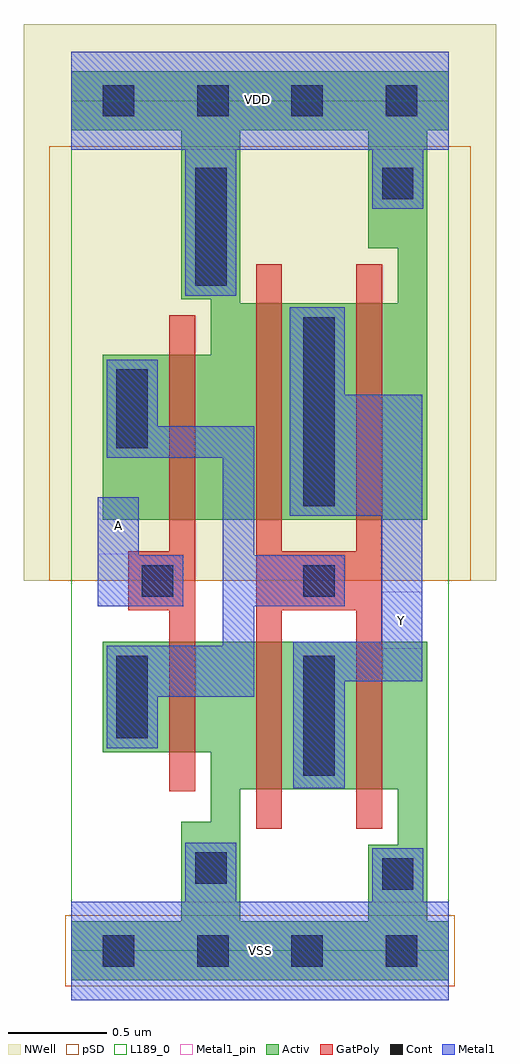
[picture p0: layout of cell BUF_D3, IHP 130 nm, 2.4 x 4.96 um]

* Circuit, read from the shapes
.subckt BUF_D3 A VDD VSS Y
XM1 VSS A n1 VSS sg13_lv_nmos w=0.56u l=0.13u
XM2 Y n1 VSS VSS sg13_lv_nmos w=0.75u l=0.13u m=2
XM3 VDD A n1 VDD sg13_lv_pmos w=0.84u l=0.13u
XM4 Y n1 VDD VDD sg13_lv_pmos w=1.1u l=0.13u m=2
.ends

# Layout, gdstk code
import gdstk
lib = gdstk.Library(unit=1e-6, precision=1e-09)
def R(c, l, rs):  # rectangles x0, y0, x1, y1
    for r in rs: c.add(gdstk.rectangle(r[:2], r[2:], *l))
def A(c, l, x, y, w, h, nx, ny, dx, dy):  # array of equal rectangles
    R(c, l, [(x+i*dx, y+j*dy, x+i*dx+w, y+j*dy+h) for i in range(nx) for j in range(ny)])
def P(c, l, *ps):  # polygons
    for p in ps: c.add(gdstk.Polygon(p, *l))
Activ = (1, 0)
GatPoly = (5, 0)
Cont = (6, 0)
Metal1 = (8, 0)
Metal1_pin = (8, 2)
pSD = (14, 0)
NWell = (31, 0)
L189_0 = (189, 0)

buf_d3 = lib.new_cell('BUF_D3')
P(buf_d3, Activ, [(0,-0.15),(0,0.15),(0.56,0.15),(0.86,0.15),(1.51,0.15),(1.51,0.54),(1.66,0.54),(1.66,0.82),(0.86,0.82),(0.86,0.15),(0.56,0.15),(0.56,0.655),(0.71,0.655),(0.71,1.01),(0.16,1.01),(0.16,1.57),(1.81,1.57),(1.81,0.15),(1.92,0.15),(1.92,-0.15)],
  [(0.16,2.19),(0.16,3.03),(0.71,3.03),(0.71,3.29),(0.86,3.29),(1.66,3.29),(1.66,3.57),(1.51,3.57),(1.51,4.17),(0.86,4.17),(0.86,3.29),(0.71,3.29),(0.71,3.31),(0.56,3.31),(0.56,4.17),(0,4.17),(0,4.47),(1.92,4.47),(1.92,4.17),(1.81,4.17),(1.81,2.19)])
P(buf_d3, GatPoly, [(0.94,0.62),(0.94,1.73),(0.94,2.03),(0.94,3.49),(1.07,3.49),(1.07,2.03),(1.45,2.03),(1.45,3.49),(1.58,3.49),(1.58,0.62),(1.45,0.62),(1.45,1.73),(1.07,1.73),(1.07,0.62)],
  [(0.5,0.81),(0.5,1.73),(0.29,1.73),(0.29,2.03),(0.5,2.03),(0.5,3.23),(0.63,3.23),(0.63,0.81)])
A(buf_d3, Cont, 0.16, -0.08, 0.16, 0.16, 4, 2, 0.48, 4.32)
R(buf_d3, Cont, [(1.58,0.31,1.74,0.47), (0.63,0.34,0.79,0.5), (1.18,0.89,1.34,1.5), (0.23,1.08,0.39,1.5), (0.36,1.8,0.52,1.96), (1.18,1.8,1.34,1.96), (1.18,2.26,1.34,3.22), (0.23,2.555,0.39,2.955), (0.63,3.38,0.79,3.98), (1.58,3.82,1.74,3.98)])
R(buf_d3, Metal1, [(0.58,3.33,0.84,4.07)])
P(buf_d3, Metal1, [(0.18,1.03),(0.18,1.55),(0.77,1.55),(0.77,2.505),(0.18,2.505),(0.18,3.005),(0.44,3.005),(0.44,2.665),(0.93,2.665),(0.93,2.01),(1.39,2.01),(1.39,1.75),(0.93,1.75),(0.93,1.29),(0.44,1.29),(0.44,1.03)],
  [(1.53,3.77),(1.53,4.07),(0,4.07),(0,4.57),(1.92,4.57),(1.92,4.07),(1.79,4.07),(1.79,3.77)],
  [(1.13,0.825),(1.13,1.57),(1.575,1.57),(1.575,2.21),(1.11,2.21),(1.11,3.27),(1.39,3.27),(1.39,2.825),(1.785,2.825),(1.785,1.37),(1.39,1.37),(1.39,0.825)],
  [(0.135,1.75),(0.135,2.305),(0.345,2.305),(0.345,2.01),(0.57,2.01),(0.57,1.75)],
  [(0,-0.25),(0,0.25),(0.58,0.25),(0.58,0.55),(0.84,0.55),(0.84,0.25),(1.53,0.25),(1.53,0.52),(1.79,0.52),(1.79,0.25),(1.92,0.25),(1.92,-0.25)])
R(buf_d3, Metal1_pin, [(0,-0.25,1.92,0.25), (1.575,1.535,1.785,1.825), (0.135,2.015,0.345,2.305), (0,4.07,1.92,4.57)])
R(buf_d3, pSD, [(-0.03,-0.18,1.95,0.18), (-0.11,1.88,2.03,4.09)])
R(buf_d3, NWell, [(-0.24,1.88,2.16,4.71)])
R(buf_d3, L189_0, [(0,0,1.92,4.32)])
buf_d3.add(gdstk.Label('Y', (1.68,1.68), layer=8, texttype=25))
buf_d3.add(gdstk.Label('A', (0.24,2.16), layer=8, texttype=25))
buf_d3.add(gdstk.Label('VDD', (0.945,4.325), layer=8, texttype=25))
buf_d3.add(gdstk.Label('VSS', (0.965,0), layer=8, texttype=25))

lib.write_gds('BUF_D3.gds')
